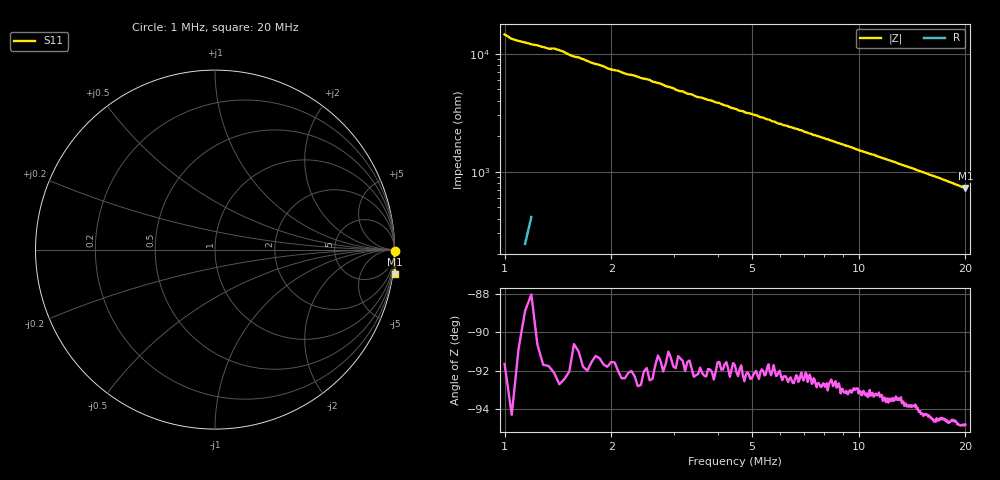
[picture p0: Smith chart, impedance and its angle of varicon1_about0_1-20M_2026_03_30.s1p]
# HZ S RI R 50
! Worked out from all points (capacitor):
!   401 points, 1 MHz to 20 MHz, reference 50 ohm
!   read as one part to ground: C = 10.7 pF near 1.095 MHz
!   lowest |Z| = 727 ohm at 20 MHz (marker M1)
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1000000  1 -0.00686
1190000  0.9997 -0.0083
1427500  1 -0.00931
1902500  1 -0.0128
2662500  1 -0.0174
3375000  1 -0.0221
5085000  1.001 -0.0331
5750000  1 -0.0376
6795000  1.001 -0.0443
7507500  1.001 -0.049
8125000  1.001 -0.053
8362500  1.001 -0.0543
9217500  1.001 -0.0602
9835000  1.001 -0.0643
1.05e7  1.001 -0.0689
1.107e7  1.002 -0.0724
1.202e7  1.002 -0.079
1.2875e7  1.002 -0.0849
1.37775e7  1.002 -0.091
1.44425e7  1.002 -0.0958
1.525e7  1.002 -0.1015
1.639e7  1.003 -0.1098
1.696e7  1.002 -0.1138
1.7625e7  1.003 -0.1192
1.791e7  1.003 -0.1213
1.83375e7  1.002 -0.1245
1.905e7  1.002 -0.1306
2e7  1.002 -0.138
